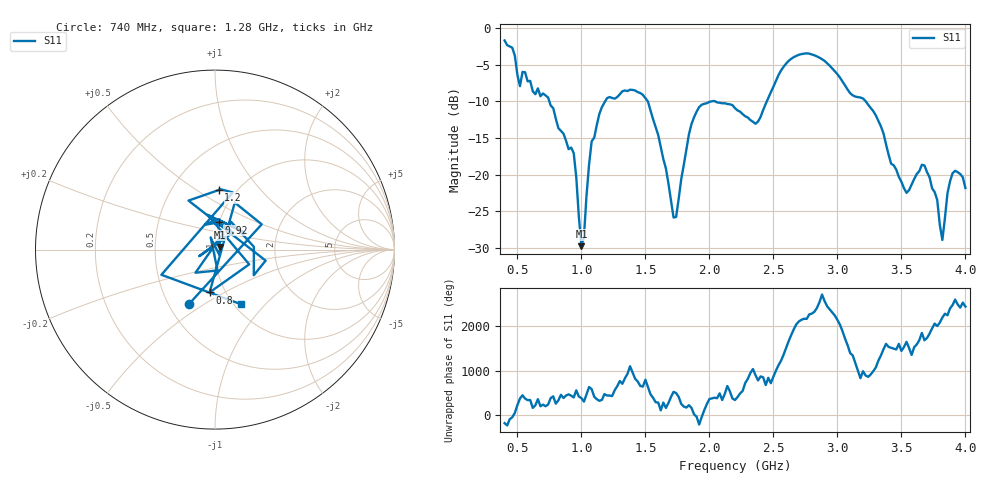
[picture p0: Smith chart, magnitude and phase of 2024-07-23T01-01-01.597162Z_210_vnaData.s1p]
!Created with skrf (http://scikit-rf.org).
# Hz S RI R 50.0
!freq ReS11 ImS11
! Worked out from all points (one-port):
!   181 points, 400 MHz to 4 GHz, reference 50 ohm
!   lowest |S11| = -29.8 dB at 1 GHz (marker M1), VSWR 1.07, Z = 52.9 + j1.6 ohm
!   |S11| at or under -10 dB: 749.5 MHz to 1.185 GHz (435.9 MHz wide, 45.1 % of centre); 1.519 GHz to 2.017 GHz (498.3 MHz wide, 28.2 % of centre); 3.221 GHz to end of sweep (the widest 3 of 4)
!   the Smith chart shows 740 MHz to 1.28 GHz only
!   S11 on the Smith chart (normalised r, x): 740 MHz: 0.63, -0.43; 800 MHz: 0.84, -0.43; 920 MHz: 0.99, +0.31; 1.2 GHz: 0.83, +0.62; 1.28 GHz: 1.08, -0.74
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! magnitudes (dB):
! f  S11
! 400 MHz  -1.7
! 520 MHz  -7.9
! 740 MHz  -9.5
! 800 MHz  -12.4
! 860 MHz  -14.4
! 920 MHz  -16.3
! 960 MHz  -20.4
! 1 GHz  -29.8
! 1.08 GHz  -15.5
! 1.2 GHz  -9.6
! 1.28 GHz  -9.4
! 1.3 GHz  -9.0
! 1.52 GHz  -10.0
! 1.72 GHz  -25.9
! 1.76 GHz  -23.3
! 1.84 GHz  -14.5
! 1.92 GHz  -10.8
! 2.2 GHz  -10.9
! 2.36 GHz  -13.1
! 2.66 GHz  -4.0
! 3.1 GHz  -8.9
! 3.28 GHz  -11.3
! 3.56 GHz  -22.1
! 3.68 GHz  -18.8
! 3.78 GHz  -23.5
! 3.82 GHz  -28.9
! 3.9 GHz  -19.8
! 4 GHz  -21.8
